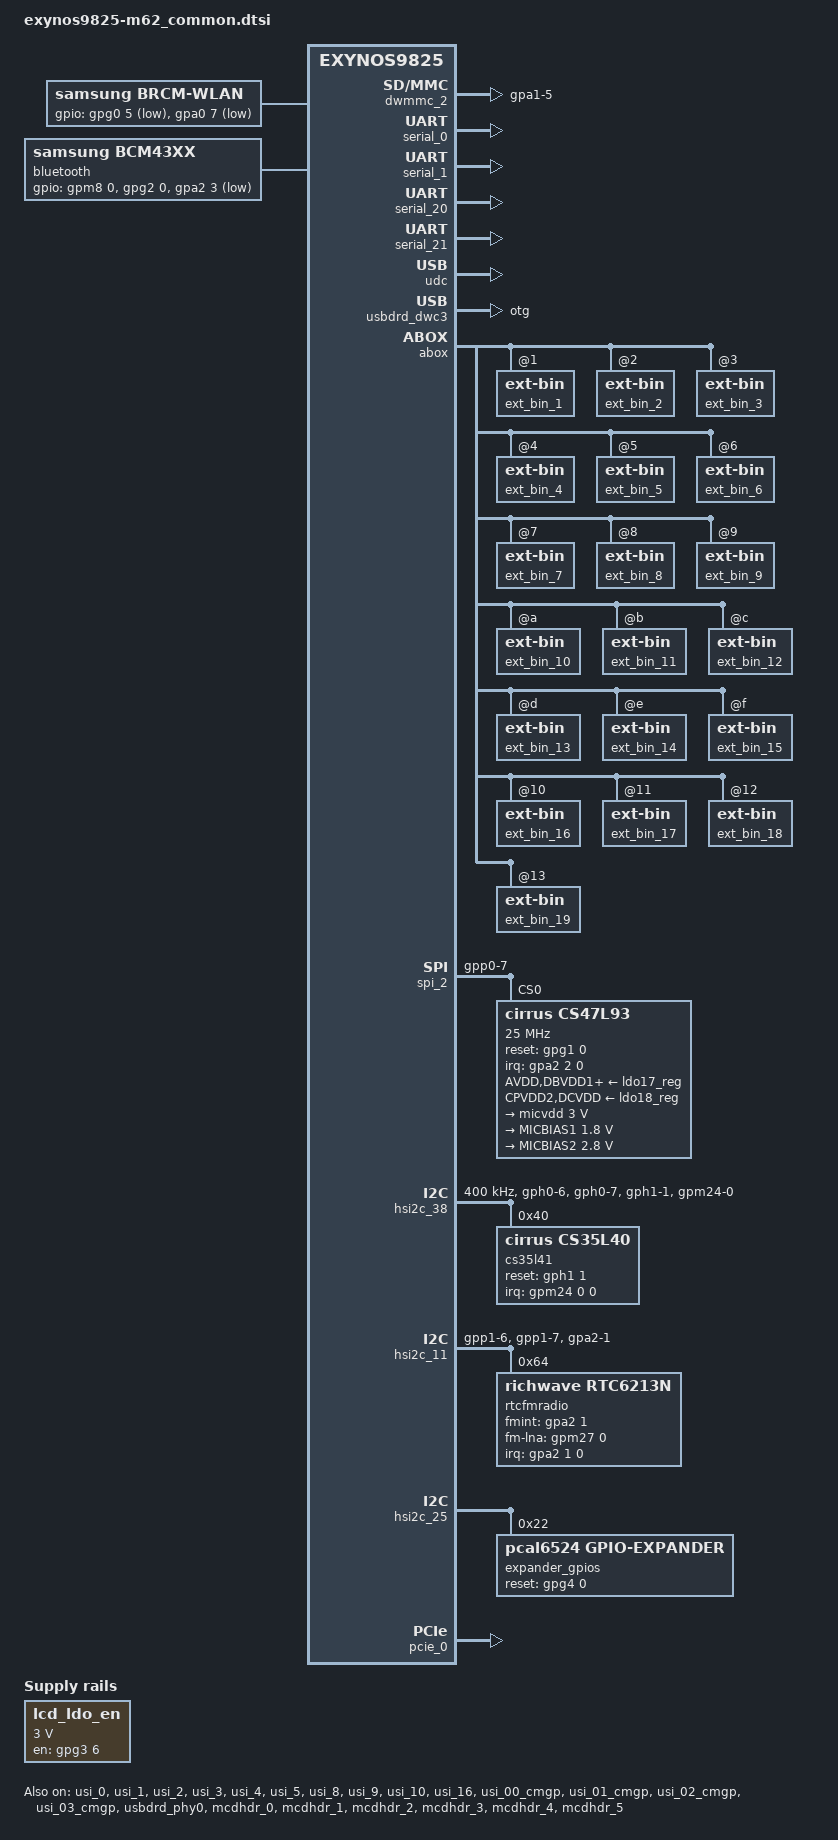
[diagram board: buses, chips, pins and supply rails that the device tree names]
/*
 * SAMSUNG EXYNOS9825 board device tree source
 *
 * Copyright (c) 2018 Samsung Electronics Co., Ltd.
 *		http://www.samsung.com
 *
 * This program is free software; you can redistribute it and/or modify
 * it under the terms of the GNU General Public License version 2 as
 * published by the Free Software Foundation.
*/

#include "../exynos/exynos9825-display-lcd.dtsi"
#include "../exynos/exynos9825-universal9825_if-pmic-max77705.dtsi"
#include <dt-bindings/clock/exynos9825.h>
#include <dt-bindings/pci/pci.h>
#include "exynos_gpio_config_macros.dtsi"
#include "exynos9825-m62_input_common.dtsi"
#include "exynos9825-m62_vibrator.dtsi"
#include "exynos9825-argos.dtsi"

/ {
	edtbo-rev = <0>;

	fragment@model {
		target-path = "/";
		__overlay__ {
			#address-cells = <2>;
			#size-cells = <1>;

			fixed-rate-clocks {
				oscclk {
					compatible = "samsung,exynos9820-oscclk";
					clock-frequency = <26000000>;
				};
			};

			firmware {
				android: android {
					compatible = "android,firmware";
					vbmeta {
						compatible = "android,vbmeta";
						parts = "vbmeta,boot,system,vendor,product,odm,prism,optics,vbmeta_system,recovery,dtbo,keystorage";
					};
				};
			};

			usb_hs_tune:hs_tune {
				status = "disabled";
				hs_tune_cnt = <6>;
				/* value = <device host> */
				hs_tune1 {
					tune_name = "tx_pre_emp";
					tune_value = <0x3 0x3>;
				};

				hs_tune2 {
					tune_name = "tx_vref";
					tune_value = <0xf 0xc>;
				};

				hs_tune3 {
					tune_name = "rx_sqrx";
					tune_value = <0x7 0x5>;
				};

				hs_tune4 {
					tune_name = "compdis";
					tune_value = <0x7 0x7>;
				};

				hs_tune5 {
					tune_name = "tx_res";
					tune_value = <0x3 0x1>;
				};

				hs_tune6 {
					tune_name = "utmi_clk";
					tune_value = <0x1 0x1>;
				};
			};

			usb_ss_tune:ss_tune {
				status = "disabled";
				ss_tune_cnt = <20>;
				/* value = <device host> */
				ss_tune1 {
					tune_name = "ssrx_sqhs_th";
					tune_value = <0x4 0x4>;
				};

				ss_tune2 {
					tune_name = "ssrx_lfps_th";
					tune_value = <0x2 0x2>;
				};

				ss_tune3 {
					tune_name = "ssrx_mf_eq_en";
					tune_value = <0x1 0x1>;
				};

				ss_tune4 {
					tune_name = "ssrx_mf_eq_ctrl_ss";
					tune_value = <0x6 0x6>;
				};

				ss_tune5 {
					tune_name = "ssrx_hf_eq_ctrl_ss";
					tune_value = <0xe 0xe>;
				};

				ss_tune6 {
					tune_name = "ssrx_mf_eq_ctrl_ssp";
					tune_value = <0x6 0x6>;
				};

				ss_tune7 {
					tune_name = "ssrx_hf_eq_ctrl_ssp";
					tune_value = <0xe 0xe>;
				};

				ss_tune8 {
					tune_name = "ssrx_dfe1_tap_ctrl";
					tune_value = <0x2 0x2>;
				};

				ss_tune9 {
					tune_name = "ssrx_dfe2_tap_ctrl";
					tune_value = <0x0 0x0>;
				};

				ss_tune10 {
					tune_name = "ssrx_dfe3_tap_ctrl";
					tune_value = <0x0 0x0>;
				};

				ss_tune11 {
					tune_name = "ssrx_dfe4_tap_ctrl";
					tune_value = <0x0 0x0>;
				};

				ss_tune12 {
					tune_name = "ssrx_dfe5_tap_ctrl";
					tune_value = <0x0 0x0>;
				};

				ss_tune13 {
					tune_name = "ssrx_term_cal";
					tune_value = <0xb 0xb>;
				};

				ss_tune14 {
					tune_name = "sstx_amp";
					tune_value = <0xb 0xb>;
				};

				ss_tune15 {
					tune_name = "sstx_deemp";
					tune_value = <0x5 0x5>;
				};

				ss_tune16 {
					tune_name = "sstx_pre_shoot";
					tune_value = <0x3 0x3>;
				};

				ss_tune17 {
					tune_name = "sstx_idrv_up";
					tune_value = <0x7 0x7>;
				};

				ss_tune18 {
					tune_name = "sstx_idrv_dn";
					tune_value = <0x0 0x0>;
				};

				ss_tune19 {
					tune_name = "sstx_up_term";
					tune_value = <0x3 0x3>;
				};

				ss_tune20 {
					tune_name = "sstx_dn_term";
					tune_value = <0x3 0x3>;
				};
			};

			usb_notifier {
				compatible = "samsung,usb-notifier";
				udc = <&udc>;
			};

			wlan {
				compatible = "samsung,brcm-wlan";
				gpios = <&gpg0 5 0x1 /* WLAN_EN */
					&gpa0 7 0x1 /* WLAN HOST WAKE GPIO_0 */>;
				pinctrl-names = "default";
				pinctrl-0 = <&cfg_wlanen &wlan_host_wake>;
				status = "okay";
			};

			exynos_rgt {
				compatible = "samsung,exynos-rgt";
				num-acpm-pmic = <2>;
			};

			dummy_audio_codec: audio_codec_dummy {
				status = "okay";
				compatible = "snd-soc-dummy";
			};

			dummy_audio_cpu: audio_cpu_dummy {
				compatible = "samsung,dummy-cpu";
				status = "okay";
			};

			sound {
				status = "okay";
				compatible = "samsung,exynos9820-madera";

				clock-names = "xclkout";
				clocks = <&clock OSC_AUD>;

				cirrus,sysclk = <1 4 98304000>;               /* MADERA_CLK_SYSCLK_1,   MADERA_CLK_SRC_FLL1     */
				cirrus,asyncclk = <2 5 98304000>;             /* MADERA_CLK_ASYNCCLK_1, MADERA_CLK_SRC_FLL2     */
				cirrus,dspclk = <8 4 147456000>;              /* MADERA_CLK_DSPCLK,     MADERA_CLK_SRC_FLL1     */
				cirrus,fll1-refclk = <1 0 26000000 98304000>; /* MADERA_FLL1_REFCLK,    MADERA_FLL_SRC_MCLK1    */
				cirrus,fll1-refclk-bclk = <1 8 0 98304000>;   /* MADERA_FLL1_REFCLK,    MADERA_FLL_SRC_AIF1BCLK */
				cirrus,fll2-refclk = <2 10 0 98304000>;       /* MADERA_FLL2_REFCLK,    MADERA_FLL_SRC_AIF3BCLK */

				cirrus,ampclk = <0 0 6144000>;

				samsung,routing = "HEADSETMIC", "MICBIAS2A",
					"IN1BL", "HEADSETMIC",
					"DMIC1", "MICBIAS1A",
					"IN2AL", "DMIC1",
					"DMIC2", "MICBIAS1B",
					"IN2AR", "DMIC2",
					"SPEAKER", "Mono AMP SPK",
					"RECEIVER", "HPOUT3L",
					"RECEIVER", "HPOUT3R",
					"HEADPHONE", "HPOUT2L",
					"HEADPHONE", "HPOUT2R",
					"BLUETOOTH SPK", "ABOX UAIF3 Playback",
					"ABOX UAIF3 Capture", "BLUETOOTH MIC";
				samsung,codec = <&abox &abox_uaif_0 &abox_uaif_1 &abox_uaif_2
					&abox_uaif_3 &abox_dsif &abox_rdma_0 &abox_rdma_1
					&abox_rdma_2 &abox_rdma_3 &abox_rdma_4 &abox_rdma_5
					&abox_rdma_6 &abox_rdma_7 &abox_rdma_8 &abox_rdma_9
					&abox_rdma_10 &abox_rdma_11 &abox_wdma_0 &abox_wdma_1
					&abox_wdma_2 &abox_wdma_3 &abox_wdma_4 &abox_wdma_5
					&abox_wdma_6 &abox_wdma_7 &cs35l41>;
				samsung,prefix = "ABOX", "ABOX", "ABOX", "ABOX",
					"ABOX", "ABOX", "ABOX", "ABOX",
					"ABOX", "ABOX", "ABOX", "ABOX",
					"ABOX", "ABOX", "ABOX", "ABOX",
					"ABOX", "ABOX", "ABOX", "ABOX",
					"ABOX", "ABOX", "ABOX", "ABOX",
					"ABOX", "ABOX", "Mono";
				samsung,aux = <&abox_effect>;

				rdma0 {
					cpu {
						sound-dai = <&abox_rdma_0>;
					};
					platform {
						sound-dai = <&abox_rdma_0>;
					};
					codec {
						sound-dai = <&dummy_audio_codec>;
					};
				};
				rdma1 {
					cpu {
						sound-dai = <&abox_rdma_1>;
					};
					platform {
						sound-dai = <&abox_rdma_1>;
					};
					codec {
						sound-dai = <&dummy_audio_codec>;
					};
				};
				rdma2 {
					cpu {
						sound-dai = <&abox_rdma_2>;
					};
					platform {
						sound-dai = <&abox_rdma_2>;
					};
					codec {
						sound-dai = <&dummy_audio_codec>;
					};
				};
				rdma3 {
					cpu {
						sound-dai = <&abox_rdma_3>;
					};
					platform {
						sound-dai = <&abox_rdma_3>;
					};
					codec {
						sound-dai = <&dummy_audio_codec>;
					};
				};
				rdma4 {
					cpu {
						sound-dai = <&abox_rdma_4>;
					};
					platform {
						sound-dai = <&abox_rdma_4>;
					};
					codec {
						sound-dai = <&dummy_audio_codec>;
					};
				};
				rdma5 {
					cpu {
						sound-dai = <&abox_rdma_5>;
					};
					platform {
						sound-dai = <&abox_rdma_5>;
					};
					codec {
						sound-dai = <&dummy_audio_codec>;
					};
				};
				rdma6 {
					cpu {
						sound-dai = <&abox_rdma_6>;
					};
					platform {
						sound-dai = <&abox_rdma_6>;
					};
					codec {
						sound-dai = <&dummy_audio_codec>;
					};
				};
				rdma7 {
					cpu {
						sound-dai = <&abox_rdma_7>;
					};
					platform {
						sound-dai = <&abox_rdma_7>;
					};
					codec {
						sound-dai = <&dummy_audio_codec>;
					};
				};
				rdma8 {
					cpu {
						sound-dai = <&abox_rdma_8>;
					};
					platform {
						sound-dai = <&abox_rdma_8>;
					};
					codec {
						sound-dai = <&dummy_audio_codec>;
					};
				};
				rdma9 {
					cpu {
						sound-dai = <&abox_rdma_9>;
					};
					platform {
						sound-dai = <&abox_rdma_9>;
					};
					codec {
						sound-dai = <&dummy_audio_codec>;
					};
				};
				rdma10 {
					cpu {
						sound-dai = <&abox_rdma_10>;
					};
					platform {
						sound-dai = <&abox_rdma_10>;
					};
					codec {
						sound-dai = <&dummy_audio_codec>;
					};
				};
				rdma11 {
					cpu {
						sound-dai = <&abox_rdma_11>;
					};
					platform {
						sound-dai = <&abox_rdma_11>;
					};
					codec {
						sound-dai = <&dummy_audio_codec>;
					};
				};
				wdma0 {
					cpu {
						sound-dai = <&abox_wdma_0>;
					};
					platform {
						sound-dai = <&abox_wdma_0>;
					};
					codec {
						sound-dai = <&dummy_audio_codec>;
					};
				};
				wdma1 {
					cpu {
						sound-dai = <&abox_wdma_1>;
					};
					platform {
						sound-dai = <&abox_wdma_1>;
					};
					codec {
						sound-dai = <&dummy_audio_codec>;
					};
				};
				wdma2 {
					cpu {
						sound-dai = <&abox_wdma_2>;
					};
					platform {
						sound-dai = <&abox_wdma_2>;
					};
					codec {
						sound-dai = <&dummy_audio_codec>;
					};
				};
				wdma3 {
					cpu {
						sound-dai = <&abox_wdma_3>;
					};
					platform {
						sound-dai = <&abox_wdma_3>;
					};
					codec {
						sound-dai = <&dummy_audio_codec>;
					};
				};
				wdma4 {
					cpu {
						sound-dai = <&abox_wdma_4>;
					};
					platform {
						sound-dai = <&abox_wdma_4>;
					};
					codec {
						sound-dai = <&dummy_audio_codec>;
					};
				};
				wdma5 {
					cpu {
						sound-dai = <&abox_wdma_5>;
					};
					platform {
						sound-dai = <&abox_wdma_5>;
					};
					codec {
						sound-dai = <&dummy_audio_codec>;
					};
				};
				wdma6 {
					cpu {
						sound-dai = <&abox_wdma_6>;
					};
					platform {
						sound-dai = <&abox_wdma_6>;
					};
					codec {
						sound-dai = <&dummy_audio_codec>;
					};
				};
				wdma7 {
					cpu {
						sound-dai = <&abox_wdma_7>;
					};
					platform {
						sound-dai = <&abox_wdma_7>;
					};
					codec {
						sound-dai = <&dummy_audio_codec>;
					};
				};
/*
				vts0 {
					cpu {
						sound-dai = <&vts 0>;
					};
					codec {
						sound-dai = <&dummy_audio_codec>;
					};
				};
				vts1 {
					cpu {
						sound-dai = <&vts 1>;
					};
					codec {
						sound-dai = <&dummy_audio_codec>;
					};
				};
*/
				dp_audio {
					cpu {
						sound-dai = <&dummy_audio_cpu>;
					};
					codec {
						sound-dai = <&dummy_audio_codec>;
					};
				};
				uaif0 {
					format = "dsp_a";
					cpu {
						sound-dai = <&abox_uaif_0>;
					};
					codec {
						sound-dai = <&cs47l93 0>;
					};
				};
				uaif1 {
					format = "dsp_a";
					bitclock-inversion;
					cpu {
						sound-dai = <&abox_uaif_1>;
					};
					codec {
						sound-dai = <&cs35l41 0>;
					};
				};
				uaif2 {
					format = "i2s";
					cpu {
						sound-dai = <&abox_uaif_2>;
					};
					codec {
						sound-dai = <&cs47l93 2>;
					};
				};
				uaif3 {
					format = "i2s";
					cpu {
						sound-dai = <&abox_uaif_3>;
					};
					codec {
						sound-dai = <&dummy_audio_codec>;
					};
				};
				dsif0 {
					format = "pdm";
					cpu {
						sound-dai = <&abox_dsif>;
					};
					codec {
						sound-dai = <&dummy_audio_codec>;
					};
				};
				sifs0 {
					cpu {
						sound-dai = <&abox 0>;
					};
					codec {
						sound-dai = <&dummy_audio_codec>;
					};
				};
				sifs1 {
					cpu {
						sound-dai = <&abox 1>;
					};
					codec {
						sound-dai = <&dummy_audio_codec>;
					};
				};
				sifs2 {
					cpu {
						sound-dai = <&abox 2>;
					};
					codec {
						sound-dai = <&dummy_audio_codec>;
					};
				};
				sifs3 {
					cpu {
						sound-dai = <&abox 3>;
					};
					codec {
						sound-dai = <&dummy_audio_codec>;
					};
				};
				sifs4 {
					cpu {
						sound-dai = <&abox 4>;
					};
					codec {
						sound-dai = <&dummy_audio_codec>;
					};
				};
				rsrc0 {
					cpu {
						sound-dai = <&abox 5>;
					};
					codec {
						sound-dai = <&dummy_audio_codec>;
					};
				};
				rsrc1 {
					cpu {
						sound-dai = <&abox 6>;
					};
					codec {
						sound-dai = <&dummy_audio_codec>;
					};
				};
				nsrc0 {
					cpu {
						sound-dai = <&abox 7>;
					};
					codec {
						sound-dai = <&dummy_audio_codec>;
					};
				};
				nsrc1 {
					cpu {
						sound-dai = <&abox 8>;
					};
					codec {
						sound-dai = <&dummy_audio_codec>;
					};
				};
				nsrc2 {
					cpu {
						sound-dai = <&abox 9>;
					};
					codec {
						sound-dai = <&dummy_audio_codec>;
					};
				};
				nsrc3 {
					cpu {
						sound-dai = <&abox 10>;
					};
					codec {
						sound-dai = <&dummy_audio_codec>;
					};
				};
				nsrc4 {
					cpu {
						sound-dai = <&abox 11>;
					};
					codec {
						sound-dai = <&dummy_audio_codec>;
					};
				};
				nsrc5 {
					cpu {
						sound-dai = <&abox 12>;
					};
					codec {
						sound-dai = <&dummy_audio_codec>;
					};
				};
				nsrc6 {
					cpu {
						sound-dai = <&abox 13>;
					};
					codec {
						sound-dai = <&dummy_audio_codec>;
					};
				};
				debug-trace@1 {
					cpu {
						sound-dai = <&cs47l93 6>;
					};
					codec {
						sound-dai = <&cs47l93 7>;
					};
				};
			};
			cirrus_amps {
				compatible = "cirrus-amp";
				cirrus,num-amps = <1>;
				cirrus,amps = <&cs35l41>;
			};
			sec-audio-debug {
				compatible = "samsung,audio-debug";
				status = "okay";
			};
			lcd_ldo_en: lcd_ldo_en {
				compatible = "regulator-fixed";
				regulator-name = "lcd_ldo_en";
				regulator-min-microvolt = <3000000>;
				regulator-max-microvolt = <3000000>;
				gpio = <&gpg3 6 1>;
				enable-active-high;
				regulator-boot-on;
			};
			pinctrl@15850000 {
				bt_hostwake: bt-hostwake {
					samsung,pins = "gpa2-3";
					samsung,pin-function = <0>;
					samsung,pin-pud = <1>;
				};
			};
			pinctrl@10430000 {
				bt_btwake: bt-btwake {
					samsung,pins = "gpg2-0";
					samsung,pin-function = <1>;
					samsung,pin-pud = <0>;
					samsung,pin-con-pdn = <3>;
					samsung,pin-pud-pdn = <0>;
				};
			};

			pinctrl@15C30000 {
				bt_en: bt-en {
					samsung,pins = "gpm8-0";
					samsung,pin-function = <1>;
					samsung,pin-pud = <0>;
					samsung,pin-con-pdn = <3>;
					samsung,pin-pud-pdn = <0>;
				};
			};
			bluetooth {
				compatible = "samsung,bcm43xx";
				gpios = <&gpm8 0 0   /*BT_EN*/
				&gpg2 0 0    /*BT_WAKE*/
				&gpa2 3 0xF    /*BT_HOST_WAKE*/ >;
				pinctrl-names = "default";
				pinctrl-0=<&bt_hostwake &bt_btwake &bt_en>;
				status = "okay";
			};
			dev_ril_bridge_pdata {
				compatible = "samsung,dev_ril_bridge_pdata";
				status = "okay";
			};
		}; /* end of __overlay__ */
	}; /* end of fragment */
}; /* end of root */

&chosen {
	bootargs_ext = "root=/dev/ram0 androidboot.boot_devices=13d60000.ufs loop.max_part=7";
};

&dwmmc_2 {
	#address-cells = <1>;
	#size-cells = <0>;
	status = "okay";
	num-slots = <1>;
	supports-4bit;
	supports-cmd23;
	supports-erase;
	supports-highspeed;
	sd-uhs-sdr50;
	sd-uhs-sdr104;
	card-detect-gpio;
	bypass-for-allpass;
	use-fine-tuning;
	card-init-hwacg-ctrl;
	skip-init-mmc-scan;
	qos-dvfs-level = <400000>;
	fifo-depth = <0x40>;
	desc-size = <4>;
	card-detect-delay = <200>;
	data-timeout = <200>;
	ssc-rate = <3>;
	samsung,dw-mshc-ciu-div = <3>;
	clock-frequency = <800000000>;
	samsung,dw-mshc-sdr-timing = <3 0 2 0>;
	samsung,dw-mshc-ddr-timing = <3 0 2 1>;
	samsung,dw-mshc-sdr50-timing = <3 0 4 2>;
	samsung,dw-mshc-sdr104-timing = <3 0 3 0>;

	num-ref-clks = <9>;
	ciu_clkin = <25 50 50 25 50 100 200 50 50>;

	/* Swapping clock drive strength */
	clk-drive-number = <6>;
	pinctrl-names = "default",
		"fast-slew-rate-1x",
		"fast-slew-rate-1_5x",
		"fast-slew-rate-2x",
		"fast-slew-rate-2_5x",
		"fast-slew-rate-3x",
		"fast-slew-rate-4x",
		"pins-as-pdn",
		"pins-as-func";
	pinctrl-0 = <&sd2_clk &sd2_cmd &sd2_bus1 &sd2_bus4 &dwmmc2_cd_ext_irq>;
	pinctrl-1 = <&sd2_clk_fast_slew_rate_1x>;
	pinctrl-2 = <&sd2_clk_fast_slew_rate_1_5x>;
	pinctrl-3 = <&sd2_clk_fast_slew_rate_2x>;
	pinctrl-4 = <&sd2_clk_fast_slew_rate_2_5x>;
	pinctrl-5 = <&sd2_clk_fast_slew_rate_3x>;
	pinctrl-6 = <&sd2_clk_fast_slew_rate_4x>;
	pinctrl-7 = <&sd2_pins_as_pdn>;
	pinctrl-8 = <&sd2_clk &sd2_cmd &sd2_bus1 &sd2_bus4>;

	card-detect = <&gpa1 5 0xf>;
	sec-sd-slot-type = <2>; /* Hybrid Tray SD slot */

	slot@0 {
		reg = <0>;
		bus-width = <4>;
		disable-wp;
	};
};


&serial_0 {
	status = "okay";
#if defined(CONFIG_SEC_FACTORY)
	samsung,uart-logging;
#endif
};

&serial_1 {
	samsung,uart-logging;
	samsung,uart-panic-log;
	status = "okay";
};

&ufs {
	/* board type for UFS CAL */
	brd-for-cal = /bits/ 8 <16>;  /* (1:SMDK, 16:UNIV) board */
	ufs,pmd-attr-gear = /bits/ 8 <4>;
	enable_tw;
};

&pinctrl_0 {
	dwmmc2_cd_ext_irq: dwmmc2_cd_ext_irq {
		samsung,pins = "gpa1-5";
		samsung,pin-function = <0xf>;
		samsung,pin-pud = <0>;
		samsung,pin-drv = <4>;
	};
};

&fmp_0 {
	exynos,block-type = "sda";
	exynos,fips-block_offset = <5>;
};

&serial_20 {
	pinctrl-names = "default";
	pinctrl-0 = <&uart20_bus_dual>;
	status = "okay";
};

&serial_21 {
	pinctrl-names = "default";
	pinctrl-0 = <&uart21_bus_dual>;
	status = "okay";
};

&usi_0 {
	usi_v2_mode = "spi";
	status = "okay";
};

&usi_1 {
	usi_v2_mode = "spi";
	status = "okay";
};

&usi_2 {
	usi_v2_mode = "spi";
	status = "okay";
};

&usi_3 {
	usi_v2_mode = "i2c";
	status = "okay";
};

&usi_4 {
	usi_v2_mode = "spi";
	status = "okay";
};

&usi_5 {
	usi_v2_mode = "i2c";
	status = "okay";
};

&usi_6 {
	usi_v2_mode = "spi";
	status = "disabled";
};

&usi_7 {
	status = "disabled";
};

&usi_8 {
	usi_v2_mode = "i2c";
	status = "okay";
};

&usi_9 {
	usi_v2_mode = "i2c";
	status = "okay";
};

&usi_10 {
	usi_v2_mode = "i2c";
	status = "okay";
};

&usi_11 {
	status = "disabled";
};

&usi_12 {
	status = "disabled";
};

&usi_13 {
	status = "disabled";
};

&usi_14 {
	status = "disabled";
};

&usi_15 {
	status = "disabled";
};

&usi_16 {
	usi_v2_mode = "spi";
	status = "okay";
};

&usi_17 {
	status = "disabled";
};

&usi_00_cmgp {
	usi_v2_mode = "spi";
	status = "okay";
};

&usi_01_cmgp {
	usi_v2_mode = "uart";
	status = "okay";
};

&usi_02_cmgp {
	usi_v2_mode = "i2c";
	status = "okay";
};

&usi_03_cmgp {
	usi_v2_mode = "i2c";
	status = "okay";
};

&pinctrl_5 {
	phy_port: phy-port {
		samsung,pins = "gpg0-4";
		samsung,pin-function = <0x0>;
		samsung,pin-pud = <3>;
		samsung,pin-drv = <0>;
	};
};

&udc {
	status = "okay";
};

&usbdrd_dwc3 {
	dr_mode = "otg";
	maximum-speed = "super-speed-plus";
	snps,quirk-frame-length-adjustment = <0x20>;
	snps,u1u2_exitfail_quirk;
	/* ux_exit_in_px should be defined in MK, LT */
	snps,ux_exit_in_px_quirk;
	/* elastic_buf_mode_quirk should be defined in MK */
	snps,elastic_buf_mode_quirk;
	usb3-lpm-capable;
	snps,usb3_lpm_capable;
	snps,has-lpm-erratum;
	snps,lpm-nyet-threshold = <0>;
	adj-sof-accuracy = <1>;
	/*
	 * dis-u2-freeclk-exists-quirk, dis_u2_susphy_quirk are alternative.
	 * One of them should be selected
	 */
	snps,dis-u2-freeclk-exists-quirk;
	/*snps,dis_u2_susphy_quirk;*/

	usb_audio_offloading = <1>;
	abox = <&abox>; /* Temporary block */
};

&usbdrd_phy0 {
	status = "okay";

	pinctrl-names = "default";
	pinctrl-0 = <&phy_port>;
	phy,gpio_phy_port = <&gpg0 4 0x0>;
	hs_tune_param = <&usb_hs_tune>;
	ss_tune_param = <&usb_ss_tune>;
};

&vts {
	status = "disabled";
};

&pd_vts {
	status = "disabled";
};

&abox_gic {
	status = "okay";
};

&abox {
	status = "okay";
	ext_bin_0: ext-bin@0 {
		status = "disabled";
		samsung,name = "dummy.bin";
		samsung,area = <1>; /* 0:SRAM, 1:DRAM, 2:VSS */
		samsung,offset = <0x0>;
	};
	ext_bin_1: ext-bin@1 {
		status = "okay";
		samsung,name = "AP_AUDIO_SLSI.bin";
		samsung,area = <1>;
		samsung,offset = <0x719800>;
	};
	ext_bin_2: ext-bin@2 {
		status = "okay";
		samsung,name = "APBargeIn_AUDIO_SLSI.bin";
		samsung,area = <1>;
		samsung,offset = <0x15F1000>;
	};
	ext_bin_3: ext-bin@3 {
		status = "okay";
		samsung,name = "SoundBoosterParam.bin";
		samsung,area = <1>;
		samsung,offset = <0x4fc000>;
	};
	ext_bin_4: ext-bin@4 {
		status = "okay";
		samsung,name = "APDV_AUDIO_SLSI.bin";
		samsung,area = <1>;
		samsung,offset = <0x4d0000>;
	};
	ext_bin_5: ext-bin@5 {
		status = "okay";
		samsung,name = "APBiBF_AUDIO_SLSI.bin";
		samsung,area = <1>;
		samsung,offset = <0x15F4000>;
	};
	ext_bin_6: ext-bin@6 {
		status = "okay";
		samsung,name = "sv.bin";
		samsung,area = <1>;
		samsung,offset = <0x1122000>;
	};
	ext_bin_7: ext-bin@7 {
		status = "okay";
		samsung,name = "usbout.bin";
		samsung,area = <1>;
		samsung,offset = <0x1100000>;
	};
	ext_bin_8: ext-bin@8 {
		status = "okay";
		samsung,name = "usbin.bin";
		samsung,area = <1>;
		samsung,offset = <0x1110000>;
	};
	ext_bin_9: ext-bin@9 {
		status = "okay";
		samsung,name = "fmsb.bin";
		samsung,area = <1>;
		samsung,offset = <0x500800>;
	};
	ext_bin_10: ext-bin@a {
		status = "okay";
		samsung,name = "txse1.bin";
		samsung,area = <1>;
		samsung,offset = <0x1800000>;
	};
	ext_bin_11: ext-bin@b {
		status = "okay";
		samsung,name = "rxse.bin";
		samsung,area = <1>;
		samsung,offset = <0x5DE800>;
	};
	ext_bin_12: ext-bin@c {
		status = "okay";
		samsung,name = "txse2.bin";
		samsung,area = <1>;
		samsung,offset = <0x1542000>;
	};
	ext_bin_13: ext-bin@d {
		status = "okay";
		samsung,name = "a2dpcom.bin";
		samsung,area = <1>;
		samsung,offset = <0x1A00000>;
	};
	ext_bin_14: ext-bin@e {
		status = "okay";
		samsung,name = "bidirmic.bin";
		samsung,area = <1>;
		samsung,offset = <0x1574000>;
	};
	ext_bin_15: ext-bin@f {
		status = "okay";
		samsung,name = "calliope2.dt";
		samsung,area = <1>;
		samsung,offset = <0x1120000>;
		samsung,mixer-control;
	};
	ext_bin_16: ext-bin@10 {
		status = "okay";
		samsung,name = "APSV_AUDIO_SLSI.bin";
		samsung,area = <1>;
		samsung,offset = <0x6F2800>;
	};
	ext_bin_17: ext-bin@11 {
		status = "okay";
		samsung,name = "listenbackeffect.bin";
		samsung,area = <1>;
		samsung,offset = <0x68e800>;
	};
	ext_bin_18: ext-bin@12 {
		status = "okay";
		samsung,name = "txse3.bin";
		samsung,area = <1>;
		samsung,offset = <0x1B33800>;
	};
	ext_bin_19: ext-bin@13 {
		status = "okay";
		samsung,name = "APTV_AUDIO_SLSI.bin";
		samsung,area = <1>;
		samsung,offset = <0x15F5000>;
	};
};

&abox_rmem {
	size = <0x4000000>;
};

&pinctrl_0 {
	codec_irq: codec-irq {
		samsung,pins = "gpa2-2";
		samsung,pin-function = <0xf>;
		samsung,pin-pud = <0>;
		samsung,pin-con-pdn =<3>;
		samsung,pin-pud-pdn = <0>;
	};
};

&pinctrl_5 {
	codec_reset: codec-reset {
		samsung,pins ="gpg1-0";
		samsung,pin-function = <1>;
		samsung,pin-pud = <0>;
		samsung,pin-con-pdn =<3>;
		samsung,pin-pud-pdn = <0>;
	};
	spi2_cs_func: spi2-cs-func {
		samsung,pins = "gpp0-7";
		samsung,pin-function = <2>;
		samsung,pin-pud = <3>;
		samsung,pin-drv = <0>;
	};
};

&spi_2 {
	#address-cells = <1>;
	#size-cells = <0>;
	status = "okay";
	pinctrl-names = "default";
	pinctrl-0 = <&spi2_bus &spi2_cs_func>;

	cs47l93: cs47l93@0 {
		compatible = "cirrus,cs47l93";
		reg = <0x0>;

		spi-max-frequency = <25000000>;

		interrupts = <2 0 0>;
		interrupt-controller;
		#interrupt-cells = <2>;
		interrupt-parent = <&gpa2>;
		gpio-controller;
		#gpio-cells = <2>;
		#sound-dai-cells = <1>;

		AVDD-supply = <&ldo17_reg>;
		DBVDD1-supply = <&ldo17_reg>;
		CPVDD1-supply = <&ldo17_reg>;
		CPVDD2-supply = <&ldo18_reg>;
		DCVDD-supply = <&ldo18_reg>;

		reset-gpios = <&gpg1 0 0>;

		cirrus,dmic-ref = <0 0 1 1>;
		cirrus,inmode = <
			0 0 0 0 /* IN1 */
			0 0 1 1 /* IN2 */
		>;
		cirrus,out-mono = <0 0 1 1 0 0>;
		cirrus,auxpdm-falling-edge;

		pinctrl-names = "probe", "active";
		pinctrl-0 = <&codec_reset &codec_irq>;
		pinctrl-1 = <&cs47l93_defaults>;

		cirrus,gpsw = <3 0>;

		madera_pinctrl: madera-pinctrl {
			compatible = "cirrus,madera-pinctrl";

			cs47l93_defaults: cs47l93-gpio-defaults {
				aif1 {
					groups = "aif1";
					function = "aif1";
					bias-bus-hold;
				};

				gpio9 {
					groups = "gpio9";
					function = "io";
					bias-disable;
					drive-strength = <8>;
				};

				gpio10 {
					groups = "gpio10";
					function = "io";
					bias-disable;
					drive-strength = <8>;
				};

				aif3 {
					groups = "aif3";
					function = "aif3";
					bias-bus-hold;
				};
			};
		};

		micvdd {
			regulator-min-microvolt = <3000000>;
			regulator-max-microvolt = <3000000>;
		};

		MICBIAS1 {
			regulator-min-microvolt = <1800000>;
			regulator-max-microvolt = <1800000>;
			cirrus,ext-cap = <1>;
		};
		MICBIAS1A {
			regulator-active-discharge = <1>;
		};
		MICBIAS1B {
			regulator-active-discharge = <1>;
		};
		MICBIAS1C {
			regulator-active-discharge = <1>;
		};
		MICBIAS1D {
			regulator-active-discharge = <1>;
		};
		MICBIAS2 {
			regulator-min-microvolt = <2800000>;
			regulator-max-microvolt = <2800000>;
			cirrus,ext-cap = <1>;
			regulator-soft-start;
		};
		MICBIAS2A {
			regulator-active-discharge = <1>;
		};

		cirrus,accdet {
			#address-cells = <1>;
			#size-cells = <0>;

			acc@1 {
				reg = <2>;

				cirrus,micd-bias-start-time = <0x1>;
				cirrus,micd-rate = <7>;
				cirrus,micd-detect-debounce-ms = <300>;
				cirrus,hs-mic = <1>;

				cirrus,init-delay-ms = <500>;
				cirrus,micd-dbtime = <0x1>;
				cirrus,micd-timeout-ms = <1000>;
				cirrus,micd-force-micbias;
				cirrus,hpdet-short-circuit-imp = <2>;
				cirrus,hpdet-ext-res = <3300>;
				cirrus,micd-ranges = <
					116 226
					173 582
					321 115
					752 114
					1257 217
				>;
				cirrus,micd-software-compare;
				cirrus,micd-open-circuit-declare = <1>;
				cirrus,jd-wake-time = <5000>;

				cirrus,moisture-pin = <4>;
				cirrus,moisture-imp = <8000>;
				cirrus,moisture-debounce = <100>;

				cirrus,micd-configs = <
					0 1 4 0 1
				>;
				cirrus,hpd-pins = <2 5 0 0>;
			};
		};

		adsps {
			#address-cells = <1>;
			#size-cells = <0>;

			adsp@0FFE00 {
				reg = <0x0FFE00>;
				firmware {
					TRACE {
						cirrus,full-name;
						cirrus,wmfw-file = "cs47l93-dsp1-trace.wmfw";
						cirrus,bin-file = "None";
						cirrus,compr-caps = <1 8 0x4 1 8000 16000 24000 32000 48000>;
					};
				};
			};
		};

		controller-data {
			samsung,spi-feedback-delay = <1>;
			samsung,spi-chip-select-mode = <0>;
		};
	};
};

&pinctrl_6 {
	hsi2c38_bus: hsi2c38-bus {
		samsung,pins = "gph0-6", "gph0-7";
		samsung,pin-function = <3>;
		samsung,pin-pud = <0>;
		samsung,pin-drv = <0>;
		samsung,pin-pud-pdn = <0>;
	};
	spk_amp_rst_n: spk-amp-rst-n {
		samsung,pins ="gph1-1";
		samsung,pin-function = <1>;
		samsung,pin-val = <0>;
		samsung,pin-pud = <0>;
		samsung,pin-con-pdn =<3>;
		samsung,pin-pud-pdn = <0>;
	};
};

&pinctrl_2 {
	amp_int: amp-int {
		samsung,pins = "gpm24-0";
		samsung,pin-function = <0xf>;
		samsung,pin-pud = <0>;
		samsung,pin-con-pdn =<3>;
		samsung,pin-pud-pdn = <0>;
	};
};

&hsi2c_38 {
	#address-cells = <1>;
	#size-cells = <0>;
	status = "okay";
	clock-frequency = <400000>;

	pinctrl-names = "default";
	pinctrl-0 = <&hsi2c38_bus &spk_amp_rst_n &amp_int>;

	cs35l41: cs35l41@40 {
		#sound-dai-cells = <1>;
		compatible = "cirrus,cs35l40";
		reg = <0x40>;

		interrupt-parent = <&gpm24>;
		interrupts = <0 0 0>;

		reset-gpios = <&gph1 1 0>;

		cirrus,use-fsync-errata;

		cirrus,mfd-suffix = "";
		cirrus,dsp-part-name = "cs35l40-bot";
		cirrus,asp-sdout-hiz = <0x3>;

		cirrus,dsp-noise-gate-enable;
		cirrus,dsp-noise-gate-delay = <0x4>;
		cirrus,dsp-noise-gate-threshold = <0x6>;

		cirrus,hw-noise-gate-select = <0x3F>;
		cirrus,hw-noise-gate-delay = <0x4>;
		cirrus,hw-noise-gate-threshold = <0x6>;

		cirrus,boost-peak-milliamp = <4100>;

		cirrus,classh-internal-algo {
			cirrus,classh-headroom = <0xb>;
			cirrus,classh-release-rate = <0x4>;
			cirrus,classh-mem-depth = <0x5>;
			cirrus,classh-wk-fet-delay = <0x4>;
			cirrus,classh-wk-fet-thld = <0x1>;
		};

		cirrus,gpio-config2 {
			cirrus,gpio-src-select = <0x4>;
			cirrus,gpio-output-enable;
		};

		cirrus,pwr-params {
			/* cirrus,pwr-global-enable; */
			cirrus,pwr-target-temp = <3700>;
			cirrus,pwr-exit-temp = <3600>;
		};
	};
};
&pinctrl_0 {
	fm_int: fm-int {
		samsung,pins = "gpa2-1";
		samsung,pin-function = <0xf>;
		samsung,pin-pud = <0>;
		samsung,pin-con-pdn =<3>;
		samsung,pin-pud-pdn = <0>;
	};
};

&pinctrl_2 {
	fm_lna_en: fm-lna-en {
		samsung,pins = "gpm27-0";
		samsung,pin-function = <0x1>;
		samsung,pin-pud = <0>;
		samsung,pin-con-pdn = <3>;
		samsung,pin-pud-pdn = <0>;
	};
};

&pinctrl_5 {
	hsi2c11_bus: hsi2c11-bus {
		samsung,pins = "gpp1-6", "gpp1-7";
		samsung,pin-function = <3>;
		samsung,pin-pud = <0>;
		samsung,pin-drv = <0>;
		samsung,pin-con-pdn = <3>;
		samsung,pin-pud-pdn = <0>;
	};
};


&hsi2c_11 {
	status = "okay";
	pinctrl-names = "default";
	pinctrl-0 = <&hsi2c11_bus &fm_int>;

	rtcfmradio@64 {
		compatible = "richwave,rtc6213n", "rtc6213n";
		reg = <0x64>;
		interrupts = <1 0 0>;
		interrupt-parent = <&gpa2>;
		fmint-gpio = <&gpa2 1 0>;
		fm-lna-gpio = <&gpm27 0 0>;
		volume_db;
		radio_vol = <44 43 40 37 34 31 28 25 22 19 16 13 10 8 6 4>;
	};
};

/***** reference symbol node *****/
&pinctrl_5 {
expander_reset_active: expander_reset_active {
	       samsung,pins = "gpg4-0";
	       samsung,pin-function = <1>;
	       samsung,pin-pud = <0>;
	       samsung,pin-val = <1>;
       };
};

&hsi2c_25 {
	#address-cells = <1>;
	#size-cells = <0>;
	status = "okay";
	expander_gpios: pcal6524@22 {
		compatible = "pcal6524,gpio-expander";
		gpio-controller;
		#gpio-cells = <2>;
		reg = <0x22>;
		pinctrl-names = "expander_reset_setting";
		pinctrl-0 = <&expander_reset_active>;
		pcal6524,gpio_start = <300>;
		pcal6524,ngpio = <24>;
		pcal6524,reset-gpio = <&gpg4 0 0>;
		pcal6524,support_initialize = <1>;
		/* config, 24 ~ 0, 1bit configure[1:input, 0:output]*/
		pcal6524,config = <0xFFFFFF>;    /* P2[11111111] P1[11111111] P0[11111111] */
		/* data_out, 24 ~ 0, 1bit configure[1:high, 0:low]*/
		pcal6524,data_out = <0x000000>;  /* P2[00000000] P1[00000000] P0[00000000] */
		/* pull_reg, 8 ~ 0, 2bit configure[00:no_pull, 01:pull_down, 10:pull_up, 11:not used] */
		pcal6524,pull_reg_p0 = <0x0000>; /* 00 00 00 00 / 00 00 00 00 */
		pcal6524,pull_reg_p1 = <0x0000>; /* 00 00 00 00 / 00 00 00 00 */
		pcal6524,pull_reg_p2 = <0x0000>; /* 00 00 00 00 / 00 00 00 00 */
	};
};

&pcie_0 {
	pinctrl-names = "default","idle";
	pinctrl-0 = <&pcie0_clkreq &pcie0_perst &pcie_wake &cfg_wlanen &wlan_host_wake>;
	pinctrl-1 = <&pcie0_perst &pcie_wake &cfg_wlanen &wlan_host_wake>;
	status = "okay";
	use-sysmmu = "true";
	use-cache-coherency = "true";
	use-msi = "false";
	ep-device-type = <EP_BCM_WIFI>;
};

&pcie_1 {
	status = "disabled";
	use-sysmmu = "false";
	use-cache-coherency = "true";
	use-msi = "false";
};

&pinctrl_0 {
	disp_rst_default: disp-rst-default {
		samsung,pins = "gpa3-4";
		samsung,pin-function = <1>;			// OUT
		samsung,pin-pud = <0>;				// NP
		samsung,pin-con-pdn = <3>; 			// prev in sleep
	};
	err_fg_deault: err-fg-default {
		samsung,pins = "gpa3-5";
		samsung,pin-function = <0xf>;		// INT
		samsung,pin-pud = <1>;				// PD
	};
};

&pinctrl_2 {
	conn_det_deault: conn-det-default {
		samsung,pins = "gpm23-0";
		samsung,pin-function = <0xf>;		// INT
		samsung,pin-pud = <0>;				// NP
	};
};

&pinctrl_5 {
	disp_det_default: disp-det-ctrl {
		samsung,pins = "gpg2-2";
		samsung,pin-function = <0xf>;		// INT
		samsung,pin-pud = <0>;				// NP
	};
};

&pinctrl_6 {
	lcd_ldo_default: lcd-ldo-ctrl {
		samsung,pins = "gpg3-6";
		samsung,pin-function = <1>;			// OUT
		samsung,pin-pud = <0>;				// NP
		samsung,pin-con-pdn = <3>; 			// prev in sleep
	};
	disp_te_default: disp-te-ctrl {
		samsung,pins = "gpd0-0";
		samsung,pin-con-pdn = <3>; // prev in sleep
		samsung,pin-pud-pdn = <0>; // np in sleep
	};
};

&panel_0 {
    status = "okay";

	ddi_info = <&s6e3fa9_m62>;

	#address-cells = <2>;
	#size-cells = <1>;
	ranges;
	pinctrl-names = "default";
	pinctrl-0 = <&disp_det_default &disp_rst_default &err_fg_deault &conn_det_deault &lcd_ldo_default &disp_te_default>;

	gpios {
		disp-reset {
			name = "disp-reset";
			gpios = <&gpa3 4 1>;	/* ACTIVE_LOW */
			dir = <0>;  /* OUT */
			irq-type = <0x0>;   /* NONE */
		};

		disp-det {						// name is el_on det in gpio map
			name = "disp-det";
			gpios = <&gpg2 2 1>;  /* 0:OK, 1:NOK(active) */
			dir = <1>;  /* IN */
			irq-type = <0x2>;   /* FALLING EDGE */
		};

		conn-det {						// name is LCD_CON_DET in gpio map
			name = "conn-det";
			gpios = <&gpm23 0 0>; /* 0:NOK(active) 1:OK */
			dir = <1>;  /* IN */
			irq-type = <0x3>;   /* BOTH EDGE */
		};

		err-fg {
			name = "err-fg";
			gpios = <&gpa3 5 0>; 		/* 0:NOK(active) 1:OK */
			dir = <1>;  				/* IN */
			irq-type = <0x00002001>;	/* RISING EDGE | ONE_SHOT */
		};
	};

	regulators {
		ddi-3p0 {
			regulator = <&lcd_ldo_en>;
			def-voltage = <3000000>;
			lpm-voltage = <3000000>;
		};

		ddi-1p8 {
			regulator = <&ldo26_reg>;
			def-voltage = <1800000>;
			lpm-voltage = <1800000>;
		};
	};

	panel-lookup {
		panel-name = "s6e3fa9_m62_default";
		panel-ddi-info = <&s6e3fa9_m62>;
		panel-lut = <
			/* default panel */
			0x000000 0x000000 0x0 0x0  /* not found */
		>;
	};
};

&mcdhdr_0 {
	status = "okay";
};

&mcdhdr_1 {
	status = "okay";
};

&mcdhdr_2 {
	status = "okay";
};

&mcdhdr_3 {
	status = "okay";
};

&mcdhdr_4 {
	status = "okay";
};

&mcdhdr_5 {
	status = "okay";
};

&reserved_memory {
	#address-cells = <2>;
	#size-cells = <1>;

	secure_camera {
		compatible = "exynos9820-ion";
		ion,heapname = "secure_camera_heap";
		reg = <0x0 0x96000000 0x2200000>;
		ion,secure;
		ion,protection_id = <11>;
		ion,alignment = <0x10000>;
	};
	camera_contig {
		compatible = "exynos9820-ion";
		ion,heapname = "camera_contig_heap";
		reg = <0x0 0x98200000 0xE00000>;
		ion,secure;
		ion,protection_id = <10>;
	};
	camera {
		compatible = "exynos9820-ion";
		ion,heapname = "camera_heap";
		reg = <0x8 0x80000000 0x21C00000>;
		ion,recyclable;
	};
};
